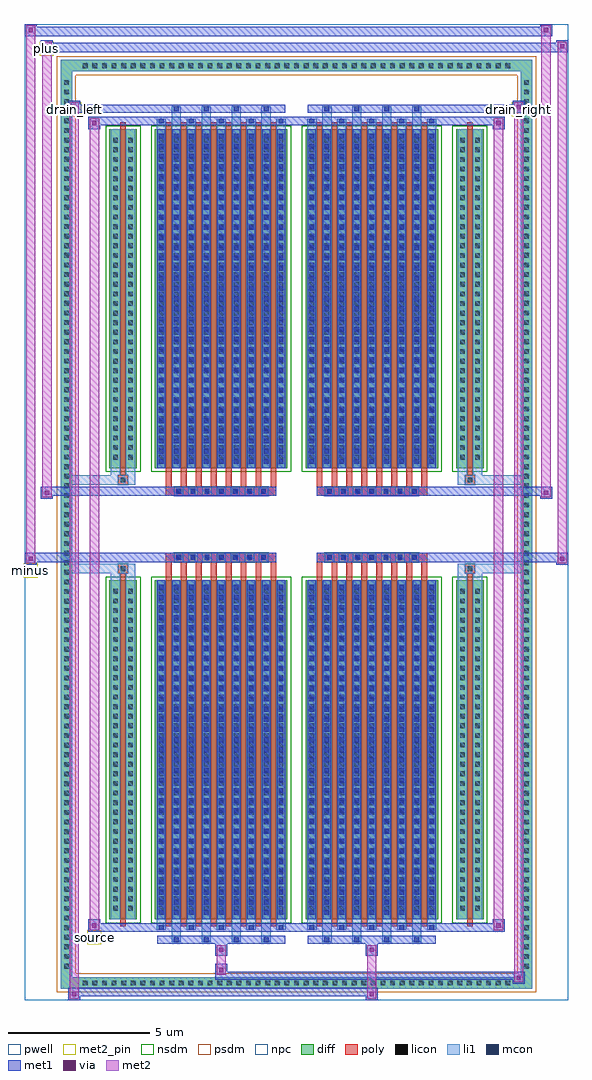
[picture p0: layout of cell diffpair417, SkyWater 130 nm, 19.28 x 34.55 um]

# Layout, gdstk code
import gdstk
lib = gdstk.Library(unit=1e-6, precision=5e-09)
def R(c, l, rs):  # rectangles x0, y0, x1, y1
    for r in rs: c.add(gdstk.rectangle(r[:2], r[2:], *l))
def A(c, l, x, y, w, h, nx, ny, dx, dy):  # array of equal rectangles
    R(c, l, [(x+i*dx, y+j*dy, x+i*dx+w, y+j*dy+h) for i in range(nx) for j in range(ny)])
def P(c, l, *ps):  # polygons
    for p in ps: c.add(gdstk.Polygon(p, *l))
pwell = (64, 44)
diff = (65, 20)
poly = (66, 20)
licon = (66, 44)
li1 = (67, 20)
mcon = (67, 44)
met1 = (68, 20)
via = (68, 44)
met2_pin = (69, 16)
met2 = (69, 20)
nsdm = (93, 44)
psdm = (94, 20)
npc = (95, 20)

diffpair417 = lib.new_cell('diffpair417')
R(diffpair417, pwell, [(-9.62,-16.84,9.62,17.71), (-6.94,-15.03,-0.01,-0.805), (0.01,-15.03,6.94,-0.805), (-6.94,0.805,-0.01,15.03), (0.01,0.805,6.94,15.03)])
A(diffpair417, diff, -7.685, -16.44, 0.41, 0.41, 45, 2, 0.34, 32.47)
A(diffpair417, diff, -8.35, -15.845, 0.41, 0.41, 1, 93, 0, 0.34)
A(diffpair417, diff, 7.94, -15.845, 0.41, 0.41, 1, 93, 0, 0.34)
R(diffpair417, diff, [(-7.685,-16.44,7.685,-16.03), (-8.35,-15.845,-7.94,15.845), (7.94,-15.845,8.35,15.845), (-6.63,-13.985,-5.65,-1.985), (-5.01,-13.985,-0.32,-1.985), (0.32,-13.985,5.01,-1.985), (5.65,-13.985,6.63,-1.985), (-6.63,1.985,-5.65,13.985), (-5.01,1.985,-0.32,13.985), (0.32,1.985,5.01,13.985), (5.65,1.985,6.63,13.985), (-7.685,16.03,7.685,16.44)])
P(diffpair417, diff, [(8.35,16.44),(-8.35,16.44),(-8.35,-16.03),(-7.94,-16.03),(-7.94,16.03),(7.94,16.03),(7.94,-16.03),(-7.94,-16.03),(-8.35,-16.03),(-8.35,-16.44),(8.35,-16.44)])
A(diffpair417, poly, -4.62, -14.235, 0.2, 12.5, 8, 2, 0.53, 15.97)
A(diffpair417, poly, 0.71, -14.235, 0.2, 12.5, 8, 2, 0.53, 15.97)
A(diffpair417, poly, -4.62, -1.735, 0.2, 0.4, 8, 2, 0.53, 3.07)
A(diffpair417, poly, 0.71, -1.735, 0.2, 0.4, 8, 2, 0.53, 3.07)
A(diffpair417, poly, -4.33, -1.335, 0.33, 0.33, 7, 2, 0.5, 2.34)
A(diffpair417, poly, 1, -1.335, 0.33, 0.33, 7, 2, 0.5, 2.34)
R(diffpair417, poly, [(-6.24,-14.235,-6.04,-1.735), (6.04,-14.235,6.24,-1.735), (-6.305,-1.735,-5.975,-1.405), (-6.305,-1.735,-5.975,-1.405), (5.975,-1.735,6.305,-1.405), (5.975,-1.735,6.305,-1.405), (-4.62,-1.335,-0.71,-1.005), (0.71,-1.335,4.62,-1.005), (-4.62,1.005,-0.71,1.335), (0.71,1.005,4.62,1.335), (-6.305,1.405,-5.975,1.735), (-6.305,1.405,-5.975,1.735), (5.975,1.405,6.305,1.735), (5.975,1.405,6.305,1.735), (-6.24,1.735,-6.04,14.235), (6.04,1.735,6.24,14.235)])
A(diffpair417, licon, -7.565, -16.32, 0.17, 0.17, 45, 2, 0.34, 32.47)
A(diffpair417, licon, -8.23, -15.725, 0.17, 0.17, 1, 93, 0, 0.34)
A(diffpair417, licon, 8.06, -15.725, 0.17, 0.17, 1, 93, 0, 0.34)
A(diffpair417, licon, -6.49, -13.68, 0.17, 0.17, 1, 34, 0, 0.34)
A(diffpair417, licon, -5.96, -13.68, 0.17, 0.17, 1, 34, 0, 0.34)
A(diffpair417, licon, -4.87, -13.68, 0.17, 0.17, 9, 34, 0.53, 0.34)
A(diffpair417, licon, 0.46, -13.68, 0.17, 0.17, 9, 34, 0.53, 0.34)
A(diffpair417, licon, 5.79, -13.68, 0.17, 0.17, 1, 34, 0, 0.34)
A(diffpair417, licon, 6.32, -13.68, 0.17, 0.17, 1, 34, 0, 0.34)
A(diffpair417, licon, -4.25, -1.255, 0.17, 0.17, 7, 2, 0.5, 2.34)
A(diffpair417, licon, 1.08, -1.255, 0.17, 0.17, 7, 2, 0.5, 2.34)
A(diffpair417, licon, -6.49, 2.29, 0.17, 0.17, 1, 34, 0, 0.34)
A(diffpair417, licon, -5.96, 2.29, 0.17, 0.17, 1, 34, 0, 0.34)
A(diffpair417, licon, -4.87, 2.29, 0.17, 0.17, 9, 34, 0.53, 0.34)
A(diffpair417, licon, 0.46, 2.29, 0.17, 0.17, 9, 34, 0.53, 0.34)
A(diffpair417, licon, 5.79, 2.29, 0.17, 0.17, 1, 34, 0, 0.34)
A(diffpair417, licon, 6.32, 2.29, 0.17, 0.17, 1, 34, 0, 0.34)
R(diffpair417, licon, [(-6.225,-1.655,-6.055,-1.485), (6.055,-1.655,6.225,-1.485), (-6.225,1.485,-6.055,1.655), (6.055,1.485,6.225,1.655)])
A(diffpair417, li1, -7.645, -16.4, 0.33, 0.33, 45, 2, 0.34, 32.47)
A(diffpair417, li1, -8.31, -15.805, 0.33, 0.33, 1, 93, 0, 0.34)
A(diffpair417, li1, 7.98, -15.805, 0.33, 0.33, 1, 93, 0, 0.34)
A(diffpair417, li1, -4.42, -14.79, 0.33, 0.805, 4, 2, 1.06, 28.775)
A(diffpair417, li1, -4.34, -14.79, 0.17, 0.17, 4, 2, 1.06, 29.41)
A(diffpair417, li1, 0.91, -14.79, 0.33, 0.805, 4, 2, 1.06, 28.775)
A(diffpair417, li1, 0.99, -14.79, 0.17, 0.17, 4, 2, 1.06, 29.41)
A(diffpair417, li1, -4.95, -14.36, 0.33, 0.375, 5, 2, 1.06, 28.345)
A(diffpair417, li1, -4.87, -14.36, 0.17, 0.17, 5, 2, 1.06, 28.55)
A(diffpair417, li1, 0.38, -14.36, 0.33, 0.375, 5, 2, 1.06, 28.345)
A(diffpair417, li1, 0.46, -14.36, 0.17, 0.17, 5, 2, 1.06, 28.55)
A(diffpair417, li1, -4.95, -13.985, 0.33, 12, 9, 2, 0.53, 15.97)
A(diffpair417, li1, 0.38, -13.985, 0.33, 12, 9, 2, 0.53, 15.97)
A(diffpair417, li1, -4.87, -13.83, 0.17, 0.17, 9, 33, 0.53, 0.36)
A(diffpair417, li1, -4.87, -13.83, 0.17, 11.69, 9, 2, 0.53, 15.97)
A(diffpair417, li1, 0.46, -13.83, 0.17, 0.17, 9, 33, 0.53, 0.36)
A(diffpair417, li1, 0.46, -13.83, 0.17, 11.69, 9, 2, 0.53, 15.97)
A(diffpair417, li1, -6.57, -13.76, 0.33, 0.33, 1, 34, 0, 0.34)
A(diffpair417, li1, -6.04, -13.76, 0.33, 0.33, 1, 34, 0, 0.34)
A(diffpair417, li1, -4.95, -13.76, 0.33, 0.33, 9, 34, 0.53, 0.34)
A(diffpair417, li1, 0.38, -13.76, 0.33, 0.33, 9, 34, 0.53, 0.34)
A(diffpair417, li1, 5.71, -13.76, 0.33, 0.33, 1, 34, 0, 0.34)
A(diffpair417, li1, 6.24, -13.76, 0.33, 0.33, 1, 34, 0, 0.34)
A(diffpair417, li1, -4.33, -1.335, 0.33, 0.33, 7, 2, 0.5, 2.34)
A(diffpair417, li1, 1, -1.335, 0.33, 0.33, 7, 2, 0.5, 2.34)
A(diffpair417, li1, -4.87, 2.14, 0.17, 0.17, 9, 33, 0.53, 0.36)
A(diffpair417, li1, 0.46, 2.14, 0.17, 0.17, 9, 33, 0.53, 0.36)
A(diffpair417, li1, -6.57, 2.21, 0.33, 0.33, 1, 34, 0, 0.34)
A(diffpair417, li1, -6.04, 2.21, 0.33, 0.33, 1, 34, 0, 0.34)
A(diffpair417, li1, -4.95, 2.21, 0.33, 0.33, 9, 34, 0.53, 0.34)
A(diffpair417, li1, 0.38, 2.21, 0.33, 0.33, 9, 34, 0.53, 0.34)
A(diffpair417, li1, 5.71, 2.21, 0.33, 0.33, 1, 34, 0, 0.34)
A(diffpair417, li1, 6.24, 2.21, 0.33, 0.33, 1, 34, 0, 0.34)
R(diffpair417, li1, [(-8.35,-16.44,-7.94,-16.03), (-8.35,-16.44,-7.94,-16.03), (-7.94,-16.44,7.94,-16.03), (7.94,-16.44,8.35,-16.03), (7.94,-16.44,8.35,-16.03), (-8.35,-16.03,-7.94,16.03), (7.94,-16.03,8.35,16.03), (-6.57,-13.985,-6.24,-1.985), (-6.04,-13.985,-5.71,-1.985), (5.71,-13.985,6.04,-1.985), (6.24,-13.985,6.57,-1.985), (-6.57,-1.985,-6.24,-1.405), (-6.04,-1.985,-5.71,-1.405), (5.71,-1.985,6.04,-1.405), (6.24,-1.985,6.57,-1.405), (-8.35,-1.735,-6.305,-1.405), (-6.57,-1.735,-6.305,-1.405), (-6.305,-1.735,-5.975,-1.405), (-5.975,-1.735,-5.71,-1.405), (5.71,-1.735,5.975,-1.405), (5.975,-1.735,6.305,-1.405), (5.975,-1.735,8.35,-1.405), (6.305,-1.735,6.57,-1.405), (-8.35,1.405,-6.305,1.735), (-6.57,1.405,-6.305,1.735), (-6.57,1.405,-6.24,1.985), (-6.305,1.405,-5.975,1.735), (-6.04,1.405,-5.71,1.985), (-5.975,1.405,-5.71,1.735), (5.71,1.405,5.975,1.735), (5.71,1.405,6.04,1.985), (5.975,1.405,6.305,1.735), (5.975,1.405,8.35,1.735), (6.24,1.405,6.57,1.985), (6.305,1.405,6.57,1.735), (-6.57,1.985,-6.24,13.985), (-6.04,1.985,-5.71,13.985), (5.71,1.985,6.04,13.985), (6.24,1.985,6.57,13.985), (-8.35,16.03,-7.94,16.44), (-8.35,16.03,-7.94,16.44), (-7.94,16.03,7.94,16.44), (7.94,16.03,8.35,16.44), (7.94,16.03,8.35,16.44)])
A(diffpair417, mcon, -4.34, -14.79, 0.17, 0.17, 4, 2, 1.06, 29.41)
A(diffpair417, mcon, 0.99, -14.79, 0.17, 0.17, 4, 2, 1.06, 29.41)
A(diffpair417, mcon, -4.87, -14.36, 0.17, 0.17, 5, 2, 1.06, 28.55)
A(diffpair417, mcon, 0.46, -14.36, 0.17, 0.17, 5, 2, 1.06, 28.55)
A(diffpair417, mcon, -4.87, -13.83, 0.17, 0.17, 9, 33, 0.53, 0.36)
A(diffpair417, mcon, 0.46, -13.83, 0.17, 0.17, 9, 33, 0.53, 0.36)
A(diffpair417, mcon, -4.25, -1.255, 0.17, 0.17, 7, 2, 0.5, 2.34)
A(diffpair417, mcon, 1.08, -1.255, 0.17, 0.17, 7, 2, 0.5, 2.34)
A(diffpair417, mcon, -4.87, 2.14, 0.17, 0.17, 9, 33, 0.53, 0.36)
A(diffpair417, mcon, 0.46, 2.14, 0.17, 0.17, 9, 33, 0.53, 0.36)
A(diffpair417, met1, -4.4, -14.85, 0.29, 0.29, 4, 2, 1.06, 29.41)
A(diffpair417, met1, 0.93, -14.85, 0.29, 0.29, 4, 2, 1.06, 29.41)
A(diffpair417, met1, -4.93, -14.42, 0.29, 0.29, 5, 2, 1.06, 28.55)
A(diffpair417, met1, 0.4, -14.42, 0.29, 0.29, 5, 2, 1.06, 28.55)
A(diffpair417, met1, -4.93, -13.985, 0.29, 12, 9, 2, 0.53, 15.97)
A(diffpair417, met1, 0.4, -13.985, 0.29, 12, 9, 2, 0.53, 15.97)
A(diffpair417, met1, -4.93, -13.89, 0.29, 0.29, 9, 33, 0.53, 0.36)
A(diffpair417, met1, 0.4, -13.89, 0.29, 0.29, 9, 33, 0.53, 0.36)
A(diffpair417, met1, -4.31, -1.315, 0.29, 0.29, 7, 2, 0.5, 2.34)
A(diffpair417, met1, 1.02, -1.315, 0.29, 0.29, 7, 2, 0.5, 2.34)
A(diffpair417, met1, -4.93, 2.08, 0.29, 0.29, 9, 33, 0.53, 0.36)
A(diffpair417, met1, 0.4, 2.08, 0.29, 0.29, 9, 33, 0.53, 0.36)
R(diffpair417, met1, [(-8.08,-16.84,-7.65,-16.41), (2.45,-16.84,2.88,-16.41), (-8.08,-16.7,2.88,-16.41), (7.65,-16.27,8.08,-15.84), (-2.88,-16.13,8.08,-15.84), (-2.88,-15.99,-2.45,-15.56), (-2.88,-15.28,-2.45,-14.85), (2.45,-15.28,2.88,-14.85), (-4.93,-14.85,-0.4,-14.56), (0.4,-14.85,4.93,-14.56), (-7.37,-14.42,-6.94,-13.99), (-7.37,-14.42,-4.93,-14.13), (-4.93,-14.42,-0.4,-14.13), (-0.4,-14.42,0.4,-14.13), (0.4,-14.42,4.93,-14.13), (4.93,-14.42,7.37,-14.13), (6.94,-14.42,7.37,-13.99), (-9.62,-1.435,-9.19,-1.005), (9.19,-1.435,9.62,-1.005), (-9.62,-1.335,-0.71,-1.005), (-4.62,-1.335,-0.71,-1.005), (0.71,-1.335,4.62,-1.005), (0.71,-1.335,9.62,-1.005), (-9.05,0.905,-8.62,1.335), (8.62,0.905,9.05,1.335), (-9.05,1.005,-4.62,1.335), (-4.62,1.005,-0.71,1.335), (0.71,1.005,4.62,1.335), (4.62,1.005,9.05,1.335), (-7.37,13.99,-6.94,14.42), (6.94,13.99,7.37,14.42), (-7.37,14.13,-4.93,14.42), (-4.93,14.13,-0.4,14.42), (-0.4,14.13,0.4,14.42), (0.4,14.13,4.93,14.42), (4.93,14.13,7.37,14.42), (-8.08,14.56,-7.65,14.99), (-8.08,14.56,-4.93,14.85), (-4.93,14.56,-0.4,14.85), (0.4,14.56,4.93,14.85), (4.93,14.56,8.08,14.85), (7.65,14.56,8.08,14.99), (-9.05,16.71,-8.62,17.14), (-9.05,16.71,-6.94,17.04), (-6.94,16.71,6.94,17.04), (6.94,16.71,9.62,17.04), (9.19,16.71,9.62,17.14), (-9.62,17.28,-9.19,17.71), (-9.62,17.28,-6.94,17.61), (-6.94,17.28,6.94,17.61), (6.94,17.28,9.05,17.61), (8.62,17.28,9.05,17.71)])
R(diffpair417, via, [(-7.94,-16.7,-7.79,-16.55), (2.59,-16.7,2.74,-16.55), (7.79,-16.13,7.94,-15.98), (-2.74,-15.85,-2.59,-15.7), (-2.74,-15.14,-2.59,-14.99), (2.59,-15.14,2.74,-14.99), (-7.23,-14.28,-7.08,-14.13), (7.08,-14.28,7.23,-14.13), (-9.48,-1.295,-9.33,-1.145), (9.33,-1.295,9.48,-1.145), (-8.91,1.045,-8.76,1.195), (8.76,1.045,8.91,1.195), (-7.23,14.13,-7.08,14.28), (7.08,14.13,7.23,14.28), (-7.94,14.7,-7.79,14.85), (7.79,14.7,7.94,14.85), (-8.91,16.85,-8.76,17), (9.33,16.85,9.48,17), (-9.48,17.42,-9.33,17.57), (8.76,17.42,8.91,17.57)])
R(diffpair417, met2_pin, [(-7.405,-14.87,-6.905,-14.37), (-9.655,-1.885,-9.155,-1.385), (-8.115,14.44,-7.615,14.94), (7.615,14.44,8.115,14.94), (-9.085,16.59,-8.585,17.09)])
R(diffpair417, met2, [(-8.03,-16.79,-7.7,-16.46), (-8.03,-16.79,-7.7,14.94), (2.5,-16.79,2.83,-16.46), (2.5,-16.46,2.83,-15.23), (7.7,-16.22,8.03,-15.89), (7.7,-16.22,8.03,14.94), (-2.83,-15.94,-2.5,-15.61), (-2.83,-15.61,-2.5,-15.23), (-2.83,-15.23,-2.5,-14.9), (2.5,-15.23,2.83,-14.9), (-7.32,-14.37,-6.99,-14.04), (-7.32,-14.37,-6.99,14.37), (6.99,-14.37,7.32,-14.04), (6.99,-14.37,7.32,14.37), (-9.57,-1.385,-9.24,-1.055), (-9.57,-1.385,-9.24,17.66), (9.24,-1.385,9.57,-1.055), (9.24,-1.385,9.57,17.09), (-9,0.955,-8.67,1.285), (-9,0.955,-8.67,17.09), (8.67,0.955,9,1.285), (8.67,0.955,9,17.66), (-7.32,14.04,-6.99,14.37), (6.99,14.04,7.32,14.37), (-8.03,14.61,-7.7,14.94), (7.7,14.61,8.03,14.94), (-9,16.76,-8.67,17.09), (9.24,16.76,9.57,17.09), (-9.57,17.33,-9.24,17.66), (8.67,17.33,9,17.66)])
P(diffpair417, met2, [(9.57,-1.385),(9.57,-1.385),(9.57,-1.055),(9.57,-1.055)],
  [(9.57,16.76),(9.57,16.76),(9.57,17.09),(9.57,17.09)],
  [(-9.24,-1.385),(-9.24,-1.385),(-9.24,-1.055),(-9.24,-1.055)],
  [(-9.24,17.33),(-9.24,17.33),(-9.24,17.66),(-9.24,17.66)],
  [(9,0.955),(9,0.955),(9,1.285),(9,1.285)],
  [(9,17.33),(9,17.33),(9,17.66),(9,17.66)],
  [(-8.67,0.955),(-8.67,0.955),(-8.67,1.285),(-8.67,1.285)],
  [(-8.67,16.76),(-8.67,16.76),(-8.67,17.09),(-8.67,17.09)],
  [(-7.7,-16.79),(-7.7,-16.79),(-7.7,-16.46),(-7.7,-16.46)],
  [(-7.7,14.61),(-7.7,14.61),(-7.7,14.94),(-7.7,14.94)],
  [(8.03,-16.22),(8.03,-16.22),(8.03,-15.89),(8.03,-15.89)],
  [(8.03,14.61),(8.03,14.61),(8.03,14.94),(8.03,14.94)],
  [(-6.99,-14.37),(-6.99,-14.37),(-6.99,-14.04),(-6.99,-14.04)],
  [(-6.99,14.04),(-6.99,14.04),(-6.99,14.37),(-6.99,14.37)],
  [(7.32,-14.37),(7.32,-14.37),(7.32,-14.04),(7.32,-14.04)],
  [(7.32,14.04),(7.32,14.04),(7.32,14.37),(7.32,14.37)])
R(diffpair417, nsdm, [(-6.76,-14.115,-5.52,-1.855), (-5.14,-14.115,-0.19,-1.855), (0.19,-14.115,5.14,-1.855), (5.52,-14.115,6.76,-1.855), (-6.76,1.855,-5.52,14.115), (-5.14,1.855,-0.19,14.115), (0.19,1.855,5.14,14.115), (5.52,1.855,6.76,14.115)])
P(diffpair417, psdm, [(8.48,16.57),(-8.48,16.57),(-8.48,-15.9),(-7.81,-15.9),(-7.81,15.9),(7.81,15.9),(7.81,-15.9),(-7.81,-15.9),(-8.48,-15.9),(-8.48,-16.57),(8.48,-16.57)])
A(diffpair417, npc, -4.35, -1.355, 0.37, 0.37, 7, 2, 0.5, 2.34)
A(diffpair417, npc, 0.98, -1.355, 0.37, 0.37, 7, 2, 0.5, 2.34)
R(diffpair417, npc, [(-6.325,-1.755,-5.955,-1.385), (5.955,-1.755,6.325,-1.385), (-4.35,-1.355,-3.48,-0.985), (-4.35,-1.355,-3.48,-0.985), (-3.85,-1.355,-2.98,-0.985), (-3.85,-1.355,-2.98,-0.985), (-3.35,-1.355,-2.48,-0.985), (-3.35,-1.355,-2.48,-0.985), (-2.85,-1.355,-1.98,-0.985), (-2.85,-1.355,-1.98,-0.985), (-2.35,-1.355,-1.48,-0.985), (-2.35,-1.355,-1.48,-0.985), (-1.85,-1.355,-0.98,-0.985), (-1.85,-1.355,-0.98,-0.985), (0.98,-1.355,1.85,-0.985), (0.98,-1.355,1.85,-0.985), (1.48,-1.355,2.35,-0.985), (1.48,-1.355,2.35,-0.985), (1.98,-1.355,2.85,-0.985), (1.98,-1.355,2.85,-0.985), (2.48,-1.355,3.35,-0.985), (2.48,-1.355,3.35,-0.985), (2.98,-1.355,3.85,-0.985), (2.98,-1.355,3.85,-0.985), (3.48,-1.355,4.35,-0.985), (3.48,-1.355,4.35,-0.985), (-4.35,0.985,-3.48,1.355), (-4.35,0.985,-3.48,1.355), (-3.85,0.985,-2.98,1.355), (-3.85,0.985,-2.98,1.355), (-3.35,0.985,-2.48,1.355), (-3.35,0.985,-2.48,1.355), (-2.85,0.985,-1.98,1.355), (-2.85,0.985,-1.98,1.355), (-2.35,0.985,-1.48,1.355), (-2.35,0.985,-1.48,1.355), (-1.85,0.985,-0.98,1.355), (-1.85,0.985,-0.98,1.355), (0.98,0.985,1.85,1.355), (0.98,0.985,1.85,1.355), (1.48,0.985,2.35,1.355), (1.48,0.985,2.35,1.355), (1.98,0.985,2.85,1.355), (1.98,0.985,2.85,1.355), (2.48,0.985,3.35,1.355), (2.48,0.985,3.35,1.355), (2.98,0.985,3.85,1.355), (2.98,0.985,3.85,1.355), (3.48,0.985,4.35,1.355), (3.48,0.985,4.35,1.355), (-6.325,1.385,-5.955,1.755), (5.955,1.385,6.325,1.755)])
diffpair417.add(gdstk.Label('minus', (-9.405,-1.635), layer=69, texttype=5))
diffpair417.add(gdstk.Label('drain_right', (7.865,14.69), layer=69, texttype=5))
diffpair417.add(gdstk.Label('drain_left', (-7.865,14.69), layer=69, texttype=5))
diffpair417.add(gdstk.Label('source', (-7.155,-14.62), layer=69, texttype=5))
diffpair417.add(gdstk.Label('plus', (-8.835,16.84), layer=69, texttype=5))

lib.write_gds('diffpair417.gds')
